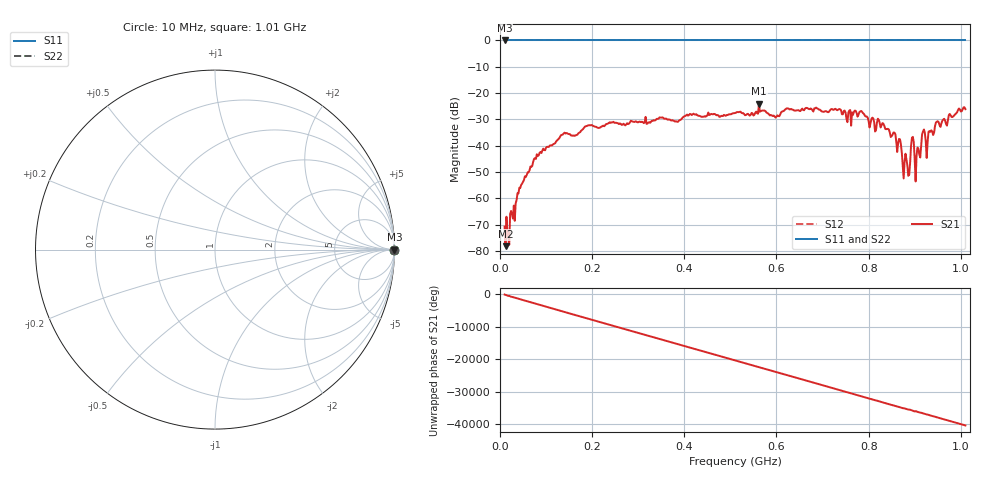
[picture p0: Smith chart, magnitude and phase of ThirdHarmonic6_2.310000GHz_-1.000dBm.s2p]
! 8/17/2025 3:12:10 AM
! C:\ANRITSUVNA\TEMP\TEMP.S2P
! CHANNEL.1
! TR.MEASUREMENT
! RAW.DATA
! RF.CORRECTION.OFF
! AVERAGING.OFF
! IF.BANDWIDTH: 5KHZ
! SWEEPTYPE:  FREQ.SWEEP(Linear)
! Reference Plane Port Info
! PORT:  PORT1  PORT2
! DISTANCE:  0  m  0  m
! TIME:  0  s  0  s
! PHASE.OFFSET:  0  deg.  0  deg.
! LOSS:  0  dB  0  dB
! REF.LOSS:  0  dB  0  dB
! REF.FREQ:  0  Hz  0  Hz
! Power Info
! POWER:  -20  dBm  -20  dBm
! EFF.POWER:  -20  dBm  -20  dBm
! SOURCE.ATTEN:  0  dB  0  dB
! TEST.ATTEN:  0  dB  0  dB
# GHZ S RI R 50.0
! FREQ.GHZ  S11RE  S11IM  S21RE  S21IM  S12RE  S12IM  S22RE  S22IM
!; PortSelection: Port_12
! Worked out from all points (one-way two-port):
!   501 points, 10 MHz to 1.01 GHz, reference 50 ohm
!   highest |S21| = -24.06 dB at 562 MHz (marker M1); lowest = -78.2 dB at 12 MHz (marker M2)
!   lowest |S11| = 0.0 dB at 10 MHz (marker M3)
!   |S11| at or under -10 dB: nowhere
!   |S22| runs from 0.0 to 0.0 dB; largest |S21 - S12| = 1.1
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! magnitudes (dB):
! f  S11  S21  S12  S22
! 10 MHz  0.0  -70.7  0.0  0.0
! 12 MHz  0.0  -78.2  0.0  0.0
! 16 MHz  0.0  -72.8  0.0  0.0
! 42 MHz  0.0  -56.0  0.0  0.0
! 76 MHz  0.0  -44.7  0.0  0.0
! 136 MHz  0.0  -35.8  0.0  0.0
! 178 MHz  0.0  -34.0  0.0  0.0
! 344 MHz  0.0  -29.8  0.0  0.0
! 510 MHz  0.0  -27.6  0.0  0.0
! 562 MHz  0.0  -24.1  0.0  0.0
! 678 MHz  0.0  -26.5  0.0  0.0
! 784 MHz  0.0  -26.8  0.0  0.0
! 844 MHz  0.0  -33.9  0.0  0.0
! 868 MHz  0.0  -37.6  0.0  0.0
! 874 MHz  0.0  -47.6  0.0  0.0
! 886 MHz  0.0  -51.4  0.0  0.0
! 894 MHz  0.0  -37.0  0.0  0.0
! 904 MHz  0.0  -43.8  0.0  0.0
! 918 MHz  0.0  -34.6  0.0  0.0
! 928 MHz  0.0  -38.6  0.0  0.0
! 948 MHz  0.0  -30.9  0.0  0.0
! 1.01 GHz  0.0  -26.1  0.0  0.0
